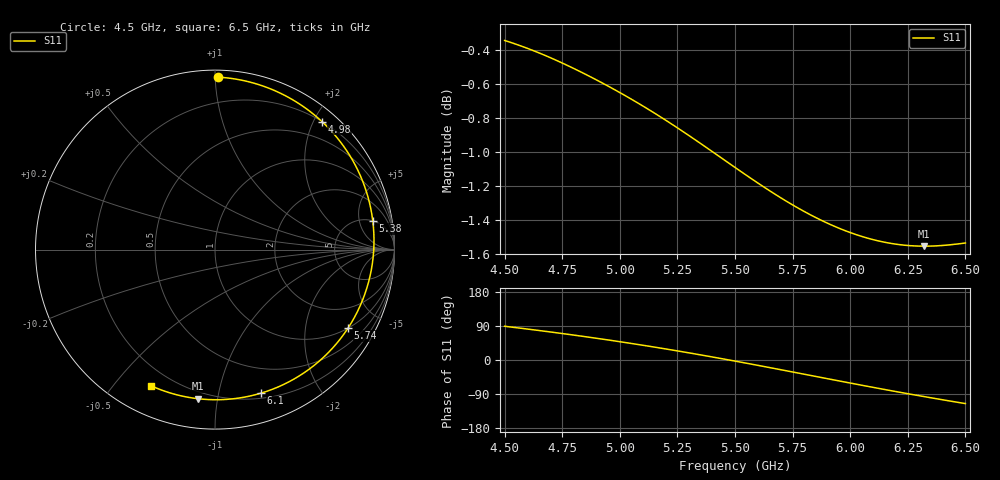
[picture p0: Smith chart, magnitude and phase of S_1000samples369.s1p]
! TOUCHSTONE file generated by CST MICROWAVE STUDIO
! Date and time: Thu Oct 27 22:38:03 2022
! Project name: L.cst
! Parameters = {Di=1.27; Epsilon_r=1.56; InnerDiameter=1.27; Length=2; Lf=10; Lg=60; OuterConductorThickness=0.2921; OuterDiameter=3.6; Wf=3; Wp=41.2; de=1.5; df=6.8; g=0.8; gx=3.57835; gy=2.36892; h=2.34; hf=1.524; px=8.90787; py=9.27482; w=9.7; wx=5.32952; wy=6.90591}
! Header version: 2018
! Port assignment regex: !\s*Touchstone port\s*([0-9]+)\s*=\s*(CST MWS port|CST DS port)\s*([0-9]+|Zmin|Zmax)\s*\(\"(.*)\"\)(\s*mode\s*([0-9]+))?.*
! Touchstone port assignment:
! Touchstone port 1 = CST MWS port 1 ("")
# GHz S DB R 50
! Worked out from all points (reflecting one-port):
!   101 points, 4.5 GHz to 6.5 GHz, reference 50 ohm
!   lowest |S11| = -1.6 dB at 6.32 GHz (marker M1), VSWR 11.21, Z = 7.97 - j44 ohm
!   phase of S11 starts at 89 deg and turns -204 deg over the sweep
!   S11 on the Smith chart (normalised r, x): 4.5 GHz: 0.04, +1.02; 4.98 GHz: 0.20, +2.12; 5.38 GHz: 5.00, +7.95; 5.74 GHz: 1.01, -3.40; 6.1 GHz: 0.25, -1.34; 6.5 GHz: 0.12, -0.63
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4.5  -0.34 89.0
4.64  -0.41 78.5
4.76  -0.48 69.0
4.88  -0.56 59.0
4.98  -0.64 50.1
5  -0.65 48.3
5.06  -0.70 42.7
5.14  -0.76 35.0
5.26  -0.87 23.0
5.32  -0.92 16.7
5.38  -0.98 10.3
5.44  -1.03 3.8
5.5  -1.09 -2.9
5.56  -1.15 -9.6
5.62  -1.20 -16.5
5.68  -1.25 -23.5
5.74  -1.30 -30.4
5.76  -1.32 -32.8
5.82  -1.36 -39.8
5.88  -1.41 -46.8
5.94  -1.44 -53.9
6  -1.47 -60.8
6.1  -1.52 -72.3
6.18  -1.54 -81.2
6.26  -1.55 -90.0
6.32  -1.55 -96.5
6.4  -1.55 -104.9
6.5  -1.54 -115.0
